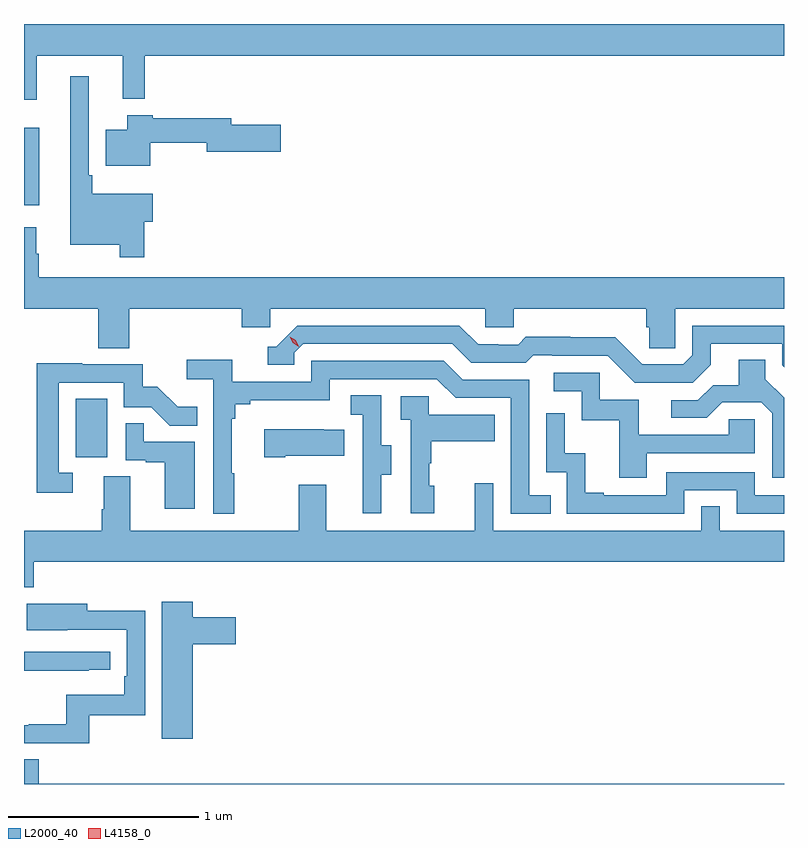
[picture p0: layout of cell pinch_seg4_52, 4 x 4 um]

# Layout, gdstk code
import gdstk
lib = gdstk.Library(unit=1e-6, precision=1e-09)
def R(c, l, rs):  # rectangles x0, y0, x1, y1
    for r in rs: c.add(gdstk.rectangle(r[:2], r[2:], *l))
def P(c, l, *ps):  # polygons
    for p in ps: c.add(gdstk.Polygon(p, *l))
L2000_40 = (2000, 40)
L4158_0 = (4158, 0)

pinch_seg4_52 = lib.new_cell('pinch_seg4_52')
R(pinch_seg4_52, L2000_40, [(1045.994,817.35,1046.158,817.657), (1045.721,818.675,1045.801,819.085)])
P(pinch_seg4_52, L2000_40, [(1045.787,819.464),(1046.24,819.464),(1046.24,819.236),(1046.357,819.236),(1046.357,819.464),(1049.721,819.464),(1049.721,819.628),(1047.865,819.628),(1047.865,819.63),(1047.725,819.63),(1047.725,819.628),(1047.313,819.628),(1047.313,819.63),(1047.173,819.63),(1047.173,819.628),(1046.761,819.628),(1046.761,819.63),(1046.622,819.63),(1046.622,819.628),(1046.173,819.628),(1046.173,819.63),(1046.052,819.63),(1046.052,819.628),(1045.721,819.628),(1045.721,819.231),(1045.787,819.231)],
  [(1046.354,818.59),(1046.398,818.59),(1046.398,818.737),(1046.081,818.737),(1046.081,818.833),(1046.061,818.833),(1046.061,819.355),(1045.964,819.355),(1045.964,818.468),(1046.226,818.468),(1046.226,818.403),(1046.354,818.403)],
  [(1046.386,819.004),(1046.684,819.004),(1046.684,818.957),(1047.073,818.957),(1047.073,819.099),(1046.812,819.099),(1046.812,819.133),(1046.399,819.133),(1046.399,819.151),(1046.264,819.151),(1046.264,819.073),(1046.15,819.073),(1046.15,818.885),(1046.386,818.885)],
  [(1046.276,818.132),(1046.867,818.132),(1046.867,818.034),(1047.018,818.034),(1047.018,818.132),(1048.149,818.132),(1048.149,818.034),(1048.299,818.034),(1048.299,818.132),(1048.997,818.132),(1048.997,818.034),(1049.011,818.034),(1049.011,817.924),(1049.148,817.924),(1049.148,818.132),(1049.721,818.132),(1049.721,818.296),(1045.798,818.296),(1045.798,818.42),(1045.786,818.42),(1045.786,818.56),(1045.721,818.56),(1045.721,818.132),(1046.111,818.132),(1046.111,817.924),(1046.276,817.924)],
  [(1049.335,817.837),(1049.335,817.947),(1049.712,817.947),(1049.712,817.833),(1049.721,817.824),(1049.721,818.043),(1049.238,818.043),(1049.238,817.887),(1049.19,817.839),(1048.974,817.839),(1048.832,817.981),(1048.596,817.981),(1048.596,817.984),(1048.363,817.984),(1048.321,817.941),(1048.218,817.941),(1048.218,817.944),(1048.111,817.944),(1048.012,818.043),(1047.159,818.043),(1047.048,817.932),(1047.005,817.932),(1047.005,817.836),(1047.144,817.836),(1047.144,817.899),(1047.192,817.947),(1047.975,817.947),(1048.074,817.848),(1048.363,817.848),(1048.402,817.887),(1048.501,817.887),(1048.501,817.884),(1048.794,817.884),(1048.935,817.743),(1049.241,817.743)],
  [(1046.827,817.265),(1046.815,817.265),(1046.815,817.553),(1046.834,817.553),(1046.834,817.63),(1046.911,817.63),(1046.911,817.649),(1047.33,817.649),(1047.33,817.761),(1047.894,817.761),(1047.993,817.662),(1048.284,817.662),(1048.284,817.053),(1048.493,817.053),(1048.493,817.149),(1048.38,817.149),(1048.38,817.758),(1048.03,817.758),(1047.931,817.857),(1047.234,817.857),(1047.234,817.746),(1046.816,817.746),(1046.816,817.862),(1046.577,817.862),(1046.577,817.76),(1046.718,817.76),(1046.718,817.053),(1046.827,817.053)],
  [(1049.721,817.662),(1049.623,817.76),(1049.623,817.862),(1049.483,817.862),(1049.483,817.73),(1049.348,817.73),(1049.268,817.65),(1049.127,817.65),(1049.127,817.557),(1049.314,817.557),(1049.395,817.638),(1049.601,817.638),(1049.658,817.581),(1049.658,817.242),(1049.721,817.242)],
  [(1045.978,817.269),(1045.905,817.269),(1045.905,817.743),(1046.247,817.743),(1046.247,817.614),(1046.391,817.614),(1046.489,817.516),(1046.633,817.516),(1046.633,817.615),(1046.529,817.615),(1046.422,817.722),(1046.346,817.722),(1046.346,817.839),(1046.027,817.839),(1046.027,817.844),(1045.789,817.844),(1045.789,817.164),(1045.978,817.164)],
  [(1048.999,817.371),(1049.568,817.371),(1049.568,817.551),(1049.431,817.551),(1049.431,817.467),(1048.957,817.467),(1048.957,817.653),(1048.752,817.653),(1048.752,817.794),(1048.509,817.794),(1048.509,817.698),(1048.656,817.698),(1048.656,817.545),(1048.855,817.545),(1048.855,817.242),(1048.999,817.242)],
  [(1047.601,817.258),(1047.655,817.258),(1047.655,817.413),(1047.6,817.413),(1047.6,817.676),(1047.441,817.676),(1047.441,817.573),(1047.504,817.573),(1047.504,817.269),(1047.503,817.269),(1047.503,817.056),(1047.601,817.056)],
  [(1047.88,817.2),(1047.855,817.2),(1047.855,817.319),(1047.865,817.319),(1047.865,817.433),(1048.199,817.433),(1048.199,817.573),(1047.852,817.573),(1047.852,817.671),(1047.705,817.671),(1047.705,817.547),(1047.756,817.547),(1047.756,817.056),(1047.88,817.056)],
  [(1049.196,817.176),(1049.472,817.176),(1049.472,817.053),(1049.721,817.053),(1049.721,817.149),(1049.568,817.149),(1049.568,817.272),(1049.1,817.272),(1049.1,817.149),(1048.771,817.149),(1048.771,817.162),(1048.676,817.162),(1048.676,817.37),(1048.566,817.37),(1048.566,817.582),(1048.47,817.582),(1048.47,817.272),(1048.578,817.272),(1048.578,817.053),(1049.196,817.053)],
  [(1046.62,817.431),(1046.351,817.431),(1046.351,817.529),(1046.256,817.529),(1046.256,817.335),(1046.363,817.335),(1046.363,817.323),(1046.462,817.323),(1046.462,817.08),(1046.62,817.08)],
  [(1047.097,817.358),(1047.407,817.358),(1047.407,817.495),(1047.299,817.495),(1047.299,817.498),(1046.985,817.498),(1046.985,817.351),(1047.097,817.351)],
  [(1045.772,816.8),(1049.721,816.8),(1049.721,816.964),(1049.382,816.964),(1049.382,817.091),(1049.286,817.091),(1049.286,816.964),(1048.191,816.964),(1048.191,817.213),(1048.094,817.213),(1048.094,816.964),(1047.313,816.964),(1047.313,817.204),(1047.166,817.204),(1047.166,816.964),(1046.281,816.964),(1046.281,817.25),(1046.141,817.25),(1046.141,817.076),(1046.129,817.076),(1046.129,816.964),(1045.721,816.964),(1045.721,816.665),(1045.772,816.665)],
  [(1046.608,816.365),(1046.836,816.365),(1046.836,816.507),(1046.608,816.507),(1046.608,816.589),(1046.447,816.589),(1046.447,815.868),(1046.608,815.868)],
  [(1046.065,815.991),(1046.358,815.991),(1046.358,816.542),(1046.053,816.542),(1046.053,816.58),(1045.735,816.58),(1045.735,816.44),(1045.949,816.44),(1045.949,816.441),(1046.262,816.441),(1046.262,816.196),(1046.249,816.196),(1046.249,816.1),(1045.944,816.1),(1045.944,815.945),(1045.747,815.945),(1045.747,815.94),(1045.721,815.94),(1045.721,815.844),(1046.065,815.844)],
  [(1046.063,816.231),(1046.176,816.231),(1046.176,816.327),(1045.721,816.327),(1045.721,816.226),(1046.063,816.226)],
  [(1049.721,815.632),(1045.799,815.632),(1045.799,815.759),(1045.721,815.759),(1045.721,815.63),(1049.721,815.63)])
P(pinch_seg4_52, L4158_0, [(1047.167,817.932),(1047.136,817.952),(1047.12,817.984),(1047.12,817.985),(1047.12,817.985),(1047.151,817.965),(1047.167,817.932),(1047.167,817.932)])

lib.write_gds('pinch_seg4_52.gds')
